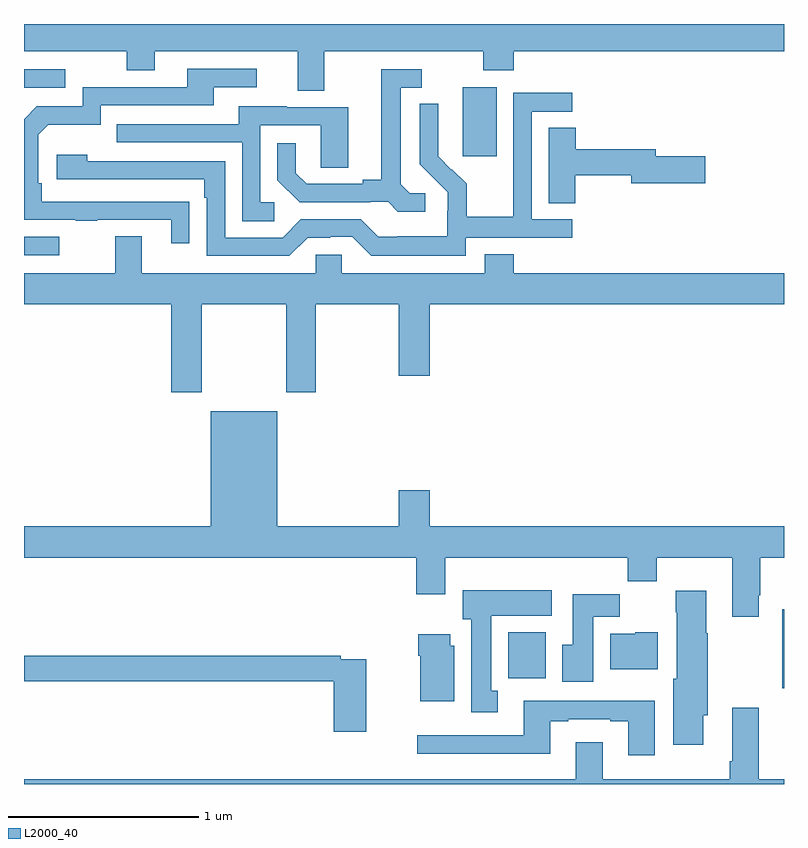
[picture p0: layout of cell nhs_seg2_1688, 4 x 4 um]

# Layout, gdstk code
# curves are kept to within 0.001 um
import gdstk
lib = gdstk.Library(unit=1e-6, precision=1e-09)
def R(c, l, rs):  # rectangles x0, y0, x1, y1
    for r in rs: c.add(gdstk.rectangle(r[:2], r[2:], *l))
def P(c, l, *ps):  # polygons
    for p in ps: c.add(gdstk.Polygon(p, *l))
L2000_40 = (2000, 40)

nhs_seg2_1688 = lib.new_cell('nhs_seg2_1688')
R(nhs_seg2_1688, L2000_40, [(202.992,624.305,203,624.721), (201.548,624.356,201.745,624.598), (199,626.583,199.186,626.679), (201.308,627.105,201.487,627.466), (199,627.465,199.216,627.561)])
P(nhs_seg2_1688, L2000_40, [(200.581,627.656),(201.418,627.656),(201.418,627.557),(201.578,627.557),(201.578,627.656),(203,627.656),(203,627.8),(199,627.8),(199,627.656),(199.54,627.656),(199.54,627.557),(199.687,627.557),(199.687,627.656),(200.441,627.656),(200.441,627.448),(200.581,627.448)],
  [(199.871,626.864),(199.094,626.865),(199.094,626.962),(199.074,626.962),(199.074,627.216),(199.127,627.269),(199.404,627.269),(199.404,627.372),(199.999,627.372),(199.999,627.468),(200.224,627.468),(200.224,627.564),(199.859,627.564),(199.859,627.468),(199.308,627.468),(199.308,627.366),(199.068,627.366),(199,627.298),(199,626.769),(199.273,626.769),(199.273,626.764),(199.385,626.764),(199.385,626.769),(199.775,626.769),(199.775,626.646),(199.871,626.646)],
  [(201.112,626.91),(201.03,626.91),(200.983,626.957),(200.983,627.465),(201.094,627.465),(201.094,627.561),(200.879,627.561),(200.879,626.981),(200.783,626.981),(200.783,626.958),(200.488,626.958),(200.431,627.015),(200.431,627.172),(200.334,627.172),(200.334,626.978),(200.45,626.862),(200.822,626.862),(200.822,626.865),(200.916,626.865),(200.968,626.813),(201.112,626.813)],
  [(201.324,626.676),(201.886,626.676),(201.886,626.772),(201.672,626.772),(201.672,627.339),(201.886,627.339),(201.886,627.438),(201.576,627.438),(201.576,627.008),(201.574,627.008),(201.574,626.785),(201.329,626.785),(201.329,626.959),(201.252,627.036),(201.249,627.033),(201.179,627.104),(201.18,627.38),(201.084,627.38),(201.084,627.062),(201.23,626.914),(201.23,626.817),(201.228,626.817),(201.228,626.683),(200.965,626.683),(200.965,626.679),(200.865,626.679),(200.772,626.772),(200.457,626.772),(200.361,626.676),(200.058,626.676),(200.058,627.078),(199.334,627.078),(199.334,627.112),(199.173,627.112),(199.173,626.982),(199.949,626.982),(199.949,626.885),(199.962,626.885),(199.962,626.58),(200.397,626.58),(200.493,626.676),(200.612,626.676),(200.612,626.679),(200.727,626.679),(200.827,626.579),(201.324,626.579)],
  [(200.317,626.862),(200.244,626.862),(200.244,627.267),(200.562,627.267),(200.562,627.043),(200.707,627.043),(200.707,627.363),(200.383,627.363),(200.383,627.367),(200.129,627.367),(200.129,627.273),(199.489,627.273),(199.489,627.177),(200.148,627.177),(200.148,626.761),(200.317,626.761)],
  [(201.9,627.004),(202.196,627.004),(202.196,626.962),(202.585,626.962),(202.585,627.104),(202.324,627.104),(202.324,627.14),(201.905,627.14),(201.905,627.254),(201.761,627.254),(201.761,626.857),(201.9,626.857)],
  [(199.935,626.324),(200.38,626.324),(200.38,625.863),(200.535,625.863),(200.535,626.324),(200.972,626.324),(200.972,625.95),(201.136,625.95),(201.136,626.324),(203,626.324),(203,626.488),(201.578,626.488),(201.578,626.587),(201.425,626.587),(201.425,626.488),(200.673,626.488),(200.673,626.586),(200.535,626.586),(200.535,626.488),(199.621,626.488),(199.621,626.683),(199.481,626.683),(199.481,626.488),(199,626.488),(199,626.324),(199.775,626.324),(199.775,625.863),(199.935,625.863)],
  [(202.867,624.793),(202.875,624.793),(202.875,624.992),(203,624.992),(203,625.156),(201.136,625.156),(201.136,625.345),(200.972,625.345),(200.972,625.156),(200.332,625.156),(200.332,625.762),(199.982,625.762),(199.982,625.156),(199,625.156),(199,624.992),(201.065,624.992),(201.065,624.798),(201.217,624.798),(201.217,624.992),(202.177,624.992),(202.177,624.868),(202.329,624.868),(202.329,624.992),(202.727,624.992),(202.727,624.681),(202.867,624.681)],
  [(201.493,624.29),(201.46,624.29),(201.46,624.686),(201.778,624.686),(201.778,624.82),(201.308,624.82),(201.308,624.666),(201.353,624.666),(201.353,624.177),(201.493,624.177)],
  [(202.576,624.162),(202.599,624.162),(202.599,624.593),(202.591,624.593),(202.591,624.817),(202.429,624.817),(202.429,624.704),(202.436,624.704),(202.436,624.354),(202.418,624.354),(202.418,624.006),(202.576,624.006)],
  [(201.997,624.68),(202.136,624.68),(202.136,624.799),(201.887,624.799),(201.887,624.532),(201.833,624.532),(201.833,624.339),(201.997,624.339)],
  [(202.336,624.598),(202.218,624.598),(202.218,624.592),(202.085,624.592),(202.085,624.404),(202.336,624.404)],
  [(201.265,624.528),(201.244,624.528),(201.244,624.589),(201.074,624.589),(201.074,624.476),(201.086,624.476),(201.086,624.236),(201.265,624.236)],
  [(200.8,624.456),(200.666,624.456),(200.666,624.476),(199,624.476),(199,624.34),(200.63,624.34),(200.63,624.075),(200.8,624.075)],
  [(202.321,624.238),(202.089,624.238),(202.089,624.237),(201.629,624.237),(201.629,624.057),(201.069,624.057),(201.069,623.96),(201.769,623.96),(201.769,624.129),(201.865,624.129),(201.865,624.141),(202.085,624.141),(202.085,624.129),(202.181,624.129),(202.181,623.952),(202.321,623.952)],
  [(203,623.824),(202.867,623.824),(202.867,624.202),(202.727,624.202),(202.727,623.92),(202.715,623.92),(202.715,623.824),(202.045,623.824),(202.045,624.019),(201.905,624.019),(201.905,623.824),(199,623.824),(199,623.8),(203,623.8)])

lib.write_gds('nhs_seg2_1688.gds')
